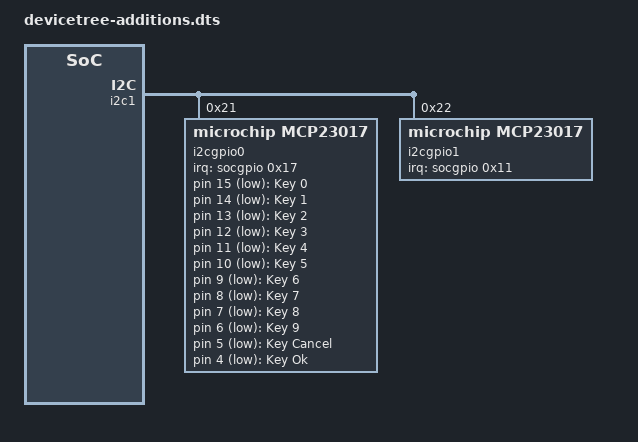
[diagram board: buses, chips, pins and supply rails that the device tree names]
&socgpio {
	i2cgpio0irq: i2cgpio0irq {
		brcm,pins = <0x17>;
		brcm,function = <0>;
		brcm,pull = <2>;
	};

	i2cgpio1irq: i2cgpio1irq {
		brcm,pins = <0x11>;
		brcm,function = <0>;
		brcm,pull = <2>;
	};
};

&i2c1 {
	i2cgpio0: gpio@21 {
		compatible = "microchip,mcp23017";
		gpio-controller;
		#gpio-cells = <0x2>;
		reg = <0x21>;
		interrupt-parent = <&socgpio>;
		interrupts = <0x17 0x8>;
		interrupt-names = "mcp23017@21 irq";
		interrupt-controller;
		#interrupt-cells = <0x2>;
		microchip,irq-mirror;
		pinctrl-names = "default";
		pinctrl-0 = <&i2cgpio0irq>;
	};

	i2cgpio1: gpio@22 {
		compatible = "microchip,mcp23017";
		gpio-controller;
		#gpio-cells = <0x2>;
		reg = <0x22>;
		interrupt-parent = <&socgpio>;
		interrupts = <0x11 0x8>;
		interrupt-names = "mcp23017@22 irq";
		interrupt-controller;
		#interrupt-cells = <0x2>;
		microchip,irq-mirror;
		pinctrl-names = "default";
		pinctrl-0 = <&i2cgpio1irq>;
	};
};

/ {
	gpio-keys {
		compatible = "gpio-keys";
		label = "main-door keypad";

		0 {
			label = "Key 0";
			linux,code = <11>;
			gpios = <&i2cgpio0 15 1>;
			debounce-interval = <20>;
		};

		1 {
			label = "Key 1";
			linux,code = <2>;
			gpios = <&i2cgpio0 14 1>;
			debounce-interval = <20>;
		};

		2 {
			label = "Key 2";
			linux,code = <3>;
			gpios = <&i2cgpio0 13 1>;
			debounce-interval = <20>;
		};

		3 {
			label = "Key 3";
			linux,code = <4>;
			gpios = <&i2cgpio0 12 1>;
			debounce-interval = <20>;
		};

		4 {
			label = "Key 4";
			linux,code = <5>;
			gpios = <&i2cgpio0 11 1>;
			debounce-interval = <20>;
		};

		5 {
			label = "Key 5";
			linux,code = <6>;
			gpios = <&i2cgpio0 10 1>;
			debounce-interval = <20>;
		};

		6 {
			label = "Key 6";
			linux,code = <7>;
			gpios = <&i2cgpio0 9 1>;
			debounce-interval = <20>;
		};

		7 {
			label = "Key 7";
			linux,code = <8>;
			gpios = <&i2cgpio0 8 1>;
			debounce-interval = <20>;
		};

		8 {
			label = "Key 8";
			linux,code = <9>;
			gpios = <&i2cgpio0 7 1>;
			debounce-interval = <20>;
		};

		9 {
			label = "Key 9";
			linux,code = <10>;
			gpios = <&i2cgpio0 6 1>;
			debounce-interval = <20>;
		};

		cancel {
			label = "Key Cancel";
			linux,code = <223>;
			gpios = <&i2cgpio0 5 1>;
			debounce-interval = <20>;
		};

		ok {
			label = "Key Ok";
			linux,code = <0x160>;
			gpios = <&i2cgpio0 4 1>;
			debounce-interval = <20>;
		};
	};
};

